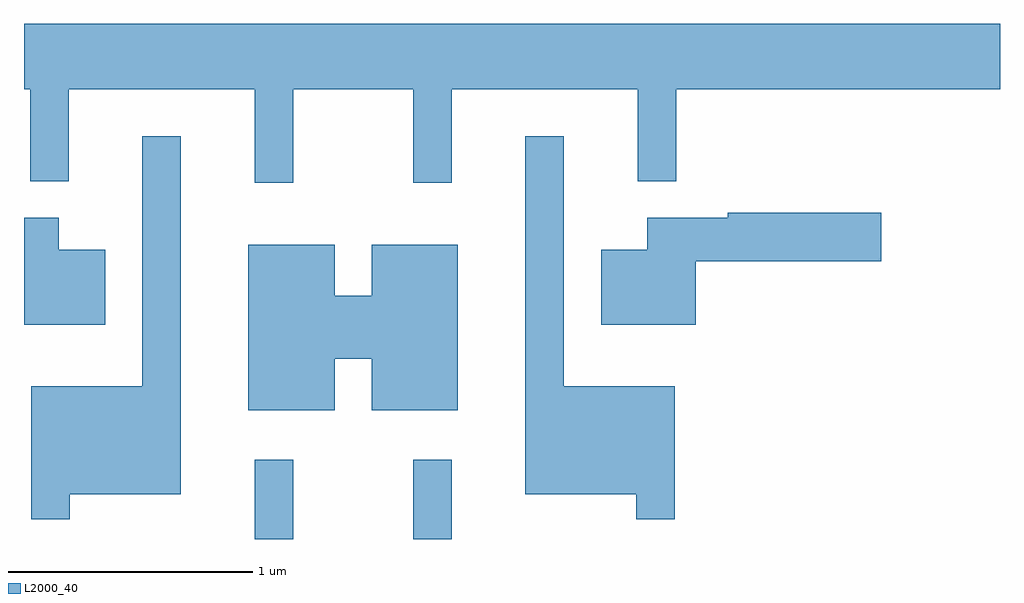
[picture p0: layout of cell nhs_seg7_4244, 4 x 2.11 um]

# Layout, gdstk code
import gdstk
lib = gdstk.Library(unit=1e-6, precision=1e-09)
def R(c, l, rs):  # rectangles x0, y0, x1, y1
    for r in rs: c.add(gdstk.rectangle(r[:2], r[2:], *l))
def P(c, l, *ps):  # polygons
    for p in ps: c.add(gdstk.Polygon(p, *l))
L2000_40 = (2000, 40)

nhs_seg7_4244 = lib.new_cell('nhs_seg7_4244')
R(nhs_seg7_4244, L2000_40, [(316.556,1710.252,316.714,1710.578), (317.206,1710.252,317.364,1710.578)])
P(nhs_seg7_4244, L2000_40, [(316.714,1712.096),(317.206,1712.096),(317.206,1711.713),(317.364,1711.713),(317.364,1712.096),(318.126,1712.096),(318.126,1711.718),(318.284,1711.718),(318.284,1712.096),(319.611,1712.096),(319.611,1712.364),(315.611,1712.364),(315.611,1712.096),(315.636,1712.096),(315.636,1711.718),(315.794,1711.718),(315.794,1712.096),(316.556,1712.096),(316.556,1711.713),(316.714,1711.713)],
  [(318.279,1710.879),(317.824,1710.879),(317.824,1711.903),(317.666,1711.903),(317.666,1710.436),(318.121,1710.436),(318.121,1710.333),(318.279,1710.333)],
  [(315.799,1710.436),(316.254,1710.436),(316.254,1711.903),(316.096,1711.903),(316.096,1710.879),(315.641,1710.879),(315.641,1710.333),(315.799,1710.333)],
  [(318.364,1711.391),(319.124,1711.391),(319.124,1711.589),(318.496,1711.589),(318.496,1711.569),(318.166,1711.569),(318.166,1711.439),(317.976,1711.439),(317.976,1711.131),(318.364,1711.131)],
  [(315.944,1711.439),(315.754,1711.439),(315.754,1711.569),(315.611,1711.569),(315.611,1711.131),(315.944,1711.131)],
  [(316.884,1710.991),(317.036,1710.991),(317.036,1710.781),(317.389,1710.781),(317.389,1711.459),(317.036,1711.459),(317.036,1711.249),(316.884,1711.249),(316.884,1711.459),(316.531,1711.459),(316.531,1710.781),(316.884,1710.781)])

lib.write_gds('nhs_seg7_4244.gds')
